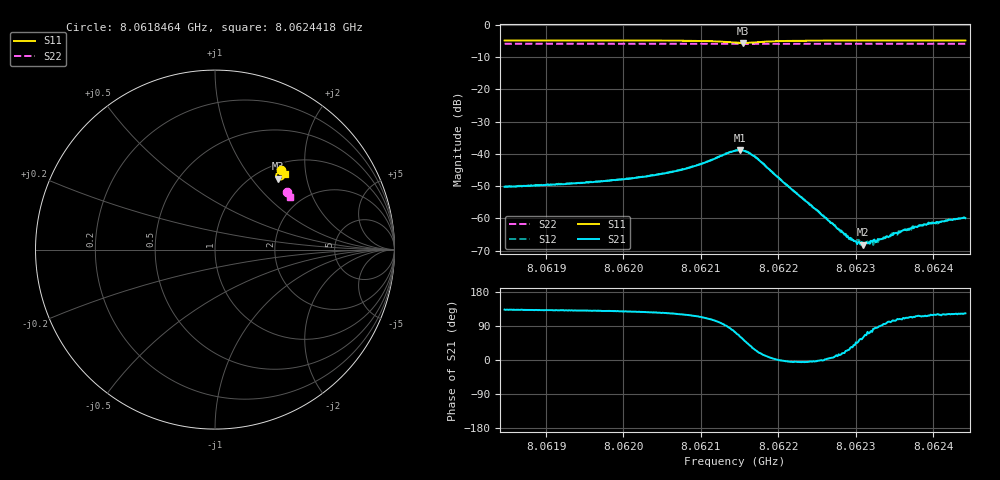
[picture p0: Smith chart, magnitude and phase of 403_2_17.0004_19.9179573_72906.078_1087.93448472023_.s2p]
#  HZ  S  RI  R  50.00
! Rohde & Schwarz Vector Network Analyzer
! Rohde-Schwarz,ZNB20-2Port,1311601062101988,3.16
! Created: UTC 3/20/2024, 11:10:08 PM
! freq[Hz]  re:S11  im:S11  re:S21  im:S21  re:S12  im:S12  re:S22  im:S22
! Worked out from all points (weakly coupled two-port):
!   401 points, 8.0618464 GHz to 8.0624418 GHz, reference 50 ohm
!   highest |S21| = -38.82 dB at 8.0621501 GHz (marker M1); lowest = -68.2 dB at 8.0623093 GHz (marker M2)
!   lowest |S11| = -5.6 dB at 8.0621545 GHz (marker M3), VSWR 3.23, Z = 62.4 + j68.2 ohm
!   |S11| at or under -10 dB: nowhere
!   |S22| runs from -5.9 to -5.8 dB; largest |S21 - S12| = 0.00083
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8.06184641e9  0.3671 0.4439  -0.00212 0.00227  -0.00201 0.00238  0.3992 0.3208
8.06194614e9  0.3742 0.4376  -0.00231 0.00268  -0.00217 0.00284  0.4029 0.3158
8.06201163e9  0.3795 0.4319  -0.00257 0.00332  -0.00239 0.00349  0.4052 0.3125
8.06204587e9  0.3824 0.4277  -0.00276 0.00396  -0.00253 0.00416  0.4064 0.3106
8.06209201e9  0.3866 0.4174  -0.00286 0.00581  -0.00256 0.00605  0.4081 0.3078
8.06214411e9  0.3652 0.3897  0.00315 0.0107  0.0037 0.0107  0.4087 0.3045
8.06215007e9  0.356 0.391  0.00522 0.0102  0.00584 0.0101  0.4084 0.3044
8.06215453e9  0.3496 0.3945  0.00658 0.00921  0.00716 0.00885  0.4082 0.3045
8.06216197e9  0.3425 0.4042  0.00788 0.00673  0.00842 0.00635  0.4083 0.3046
8.0621709e9  0.3414 0.417  0.00792 0.00379  0.0083 0.00338  0.4088 0.3047
8.06224384e9  0.372 0.4347  0.00154 -0.000115  0.0015 -0.000225  0.4128 0.3017
8.06228254e9  0.3785 0.432  0.000583 0.000185  0.000611 0.000158  0.4143 0.2996
8.06229147e9  0.3795 0.4314  0.000427 0.000217  0.000446 0.000233  0.4148 0.2991
8.06229594e9  0.3801 0.431  0.000391 0.00026  0.000408 0.000226  0.4148 0.2989
8.06230189e9  0.3808 0.4307  0.000281 0.000283  0.000343 0.000313  0.415 0.2986
8.06230934e9  0.3816 0.4302  0.000203 0.000334  0.000233 0.000333  0.4154 0.2983
8.06231529e9  0.3822 0.4299  0.000112 0.000395  0.000159 0.000408  0.4157 0.2978
8.06232571e9  0.3832 0.4291  3.58e-05 0.000424  5.36e-05 0.000434  0.4161 0.2971
8.06234357e9  0.3848 0.428  -0.000104 0.000514  -7.61e-05 0.000542  0.4167 0.2964
8.06237632e9  0.3877 0.4259  -0.000291 0.000675  -0.00029 0.000675  0.4178 0.2946
8.06239121e9  0.3887 0.4251  -0.000342 0.000717  -0.00032 0.000737  0.4184 0.2939
8.06244182e9  0.3924 0.4222  -0.000552 0.000843  -0.000511 0.000887  0.4202 0.2912
